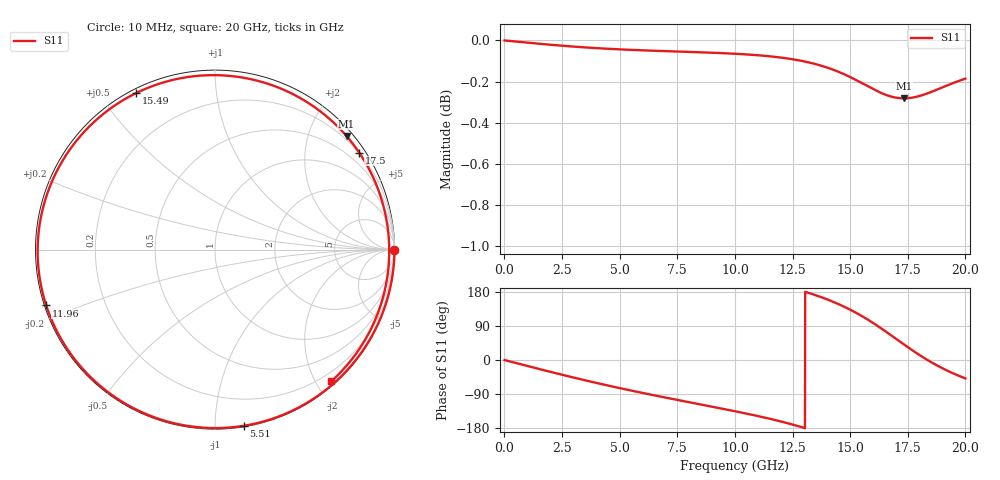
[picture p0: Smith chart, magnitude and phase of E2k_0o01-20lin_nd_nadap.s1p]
! Sonnet Data File
! From: em Version : 18.56
! From Project: E10k_0o1-100lin_nd_nadap
! Data is De-embedded
! Data File Written: 03/11/2023 11:40:15
!< HDATE 03/11/2023 11:16:36
!< MDATE 03/11/2023 11:16:36
# GHZ S MA R 50.00000
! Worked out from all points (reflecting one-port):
!   2000 points, 10 MHz to 20 GHz, reference 50 ohm
!   lowest |S11| = -0.3 dB at 17.34 GHz (marker M1), VSWR 61.70, Z = 6.66 + j134 ohm
!   phase of S11 starts at -0 deg and turns -408 deg over the sweep
!   S11 on the Smith chart (normalised r, x): 10 MHz: open; 5.51 GHz: 0.01, -1.18; 11.96 GHz: 0.00, -0.16; 15.49 GHz: 0.02, +0.62; 17.5 GHz: 0.19, +3.27; 20 GHz: 0.06, -2.21
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0.01  1 -0.2
1.21  0.9985 -19.1
2.51  0.997 -39.0
3.76  0.9959 -57.2
5.01  0.995 -74.3
5.51  0.9947 -80.8
6.49  0.9942 -93.1
7.51  0.9938 -105.4
8.76  0.9933 -120.2
10.01  0.9926 -135.2
11.02  0.9917 -148.2
11.96  0.9905 -161.7
12.51  0.9895 -170.5
13.26  0.9876 175.9
13.91  0.9853 162.1
14.48  0.9827 147.9
15.01  0.9797 132.5
15.49  0.9765 116.6
15.99  0.9732 98.0
16.43  0.9706 80.1
16.87  0.9688 61.2
17.34  0.9681 40.8
17.5  0.9682 34.0
17.51  0.9682 33.5
18.01  0.9694 13.1
18.53  0.9716 -6.3
19.28  0.9755 -30.0
20  0.9789 -48.6
